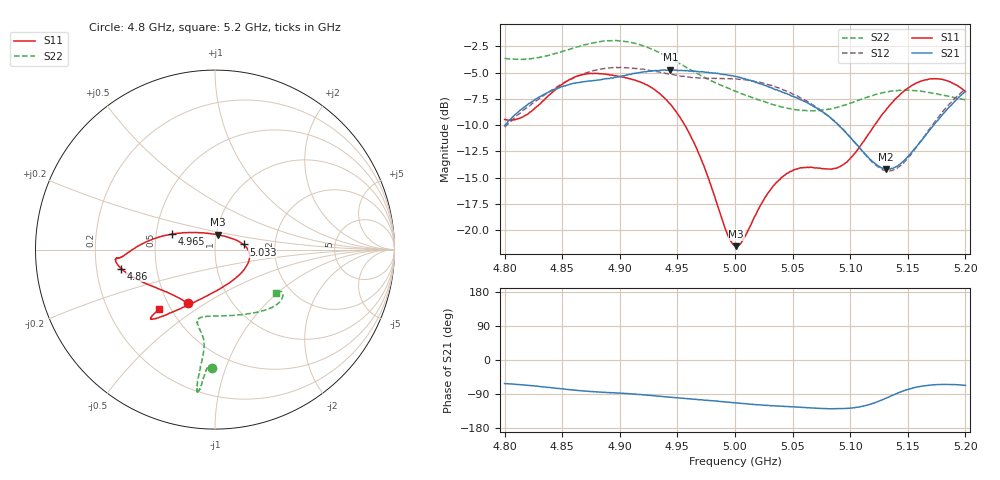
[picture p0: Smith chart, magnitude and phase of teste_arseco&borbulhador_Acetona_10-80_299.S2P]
! Network Analyzer HP8722D
! Hewlett-Packard
! Data name: Linha & Wilkinson
! Saver's name: Rodrigo Anjos
! Comments: Teste da utilização de aquisição
! continua pelo VNA HP8722D
! Time and date: 17/4/2025 16:51
!  Frequency  S11  S21  S12  S22
# HZ  S  MA R 50
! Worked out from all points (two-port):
!   401 points, 4.8 GHz to 5.2 GHz, reference 50 ohm
!   highest |S21| = -4.73 dB at 4.944 GHz (marker M1); lowest = -14.2 dB at 5.131 GHz (marker M2)
!   |S21| within 3 dB of the highest: 4.824 GHz to 5.06 GHz (235.7 MHz wide, 4.77 % of centre); 5.19082 GHz to end of sweep
!   lowest |S11| = -21.5 dB at 5.001 GHz (marker M3), VSWR 1.18, Z = 50.7 + j8.45 ohm
!   |S11| at or under -10 dB: 4.956 GHz to 5.121 GHz (164.8 MHz wide, 3.27 % of centre)
!   |S22| runs from -8.6 to -1.9 dB; largest |S21 - S12| = 0.87
!   S11 on the Smith chart (normalised r, x): 4.8 GHz: 0.63, -0.42; 4.86 GHz: 0.31, -0.09; 4.965 GHz: 0.60, +0.11; 5.033 GHz: 1.38, +0.08; 5.2 GHz: 0.43, -0.36
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4.8e9  0.3364 -116.9  0.315 -62.3  0.3094 -176.6  0.658 -91.4
4.819e9  0.3544 -137.1  0.3924 -66.6  0.3814 -176.2  0.653 -93.0
4.86e9  0.5339 -168.5  0.5 -79.3  0.5308 -179.6  0.7362 -95.4
4.867e9  0.5487 -171.2  0.5079 -81.4  0.5505 179.2  0.7574 -95.7
4.899e9  0.5391 -175.2  0.5371 -87.3  0.5935 173.1  0.7967 -97.2
4.934e9  0.4491 179.2  0.5754 -95.7  0.5663 170.0  0.7014 -97.4
4.944e9  0.3976 174.6  0.5798 -98.5  0.5523 170.4  0.6582 -97.1
4.965e9  0.2562 160.6  0.572 -104.0  0.5327 172.0  0.5656 -96.4
4.993e9  0.09679 111.3  0.5487 -111.1  0.5273 174.2  0.4777 -98.8
5e9  0.08468 84.6  0.5394 -113.1  0.5249 174.3  0.4595 -100.2
5.001e9  0.08388 80.4  0.5384 -113.2  0.5251 174.1  0.4575 -100.5
5.007e9  0.08992 57.3  0.5272 -114.9  0.5195 174.1  0.4437 -101.7
5.033e9  0.1618 10.2  0.4727 -120.7  0.4839 172.8  0.3958 -103.4
5.049e9  0.1904 -5.0  0.4345 -123.4  0.4486 172.4  0.3768 -98.8
5.067e9  0.199 -24.4  0.3934 -126.5  0.3968 172.1  0.3698 -88.3
5.096e9  0.2089 -74.7  0.2923 -127.9  0.2929 174.8  0.3948 -65.9
5.118e9  0.2975 -108.5  0.2158 -116.3  0.2142 -171.6  0.4355 -51.1
5.131e9  0.3736 -119.6  0.1955 -101.0  0.192 -154.5  0.4542 -44.7
5.134e9  0.3913 -121.5  0.1957 -96.7  0.1913 -150.0  0.4577 -43.4
5.148e9  0.4664 -127.7  0.2176 -79.6  0.2138 -129.9  0.4637 -38.1
5.168e9  0.5233 -132.1  0.2948 -66.9  0.299 -113.2  0.452 -33.4
5.2e9  0.4567 -133.3  0.4577 -66.9  0.4688 -109.0  0.4167 -35.0
